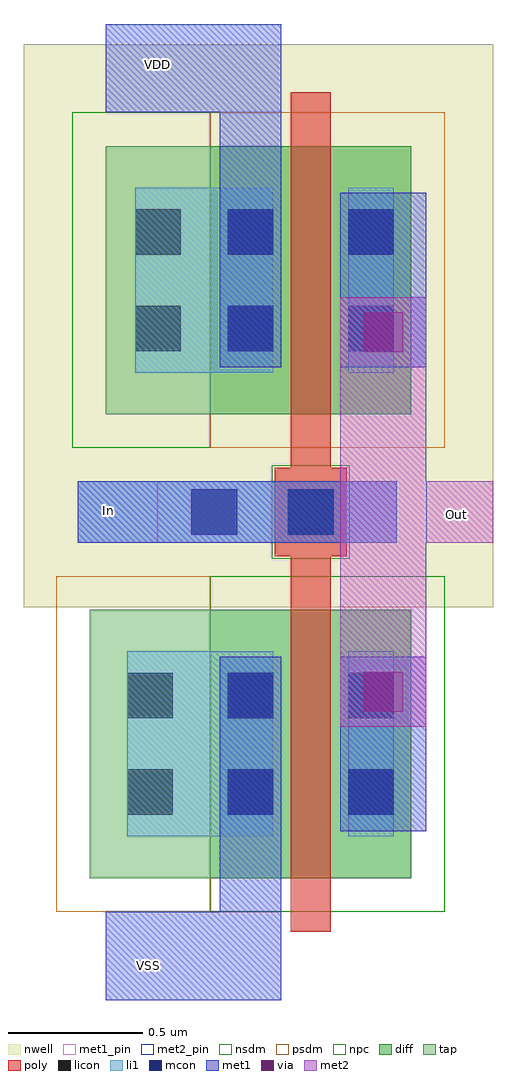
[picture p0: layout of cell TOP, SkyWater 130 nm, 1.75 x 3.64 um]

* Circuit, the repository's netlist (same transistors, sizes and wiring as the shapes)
** sch_path: /foss/designs/xschem_pruebas/TOP.sch
.subckt TOP Out In VDD VSS
*.PININFO Out:B In:B VDD:B VSS:B
XM3 Out In VDD VDD sky130_fd_pr__pfet_01v8 L=0.15 W=1 nf=1 ad='int((nf+1)/2) * W/nf * 0.29' as='int((nf+2)/2) * W/nf * 0.29' pd='2*int((nf+1)/2) * (W/nf + 0.29)'
+ ps='2*int((nf+2)/2) * (W/nf + 0.29)' nrd='0.29 / W' nrs='0.29 / W' sa=0 sb=0 sd=0 mult=1 m=1
XM4 Out In VSS VSS sky130_fd_pr__nfet_01v8 L=0.15 W=1 nf=1 ad='int((nf+1)/2) * W/nf * 0.29' as='int((nf+2)/2) * W/nf * 0.29' pd='2*int((nf+1)/2) * (W/nf + 0.29)'
+ ps='2*int((nf+2)/2) * (W/nf + 0.29)' nrd='0.29 / W' nrs='0.29 / W' sa=0 sb=0 sd=0 mult=1 m=1
.ends
.end

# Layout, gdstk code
from math import pi, radians
import gdstk
lib = gdstk.Library(unit=1e-6, precision=1e-09)
def R(c, l, rs):  # rectangles x0, y0, x1, y1
    for r in rs: c.add(gdstk.rectangle(r[:2], r[2:], *l))
def P(c, l, *ps):  # polygons
    for p in ps: c.add(gdstk.Polygon(p, *l))
nwell = (64, 20)
diff = (65, 20)
tap = (65, 44)
poly = (66, 20)
licon = (66, 44)
li1 = (67, 20)
mcon = (67, 44)
met1_pin = (68, 16)
met1 = (68, 20)
via = (68, 44)
met2_pin = (69, 16)
met2 = (69, 20)
nsdm = (93, 44)
psdm = (94, 20)
npc = (95, 20)

nfet_1 = lib.new_cell('nfet$1')
R(nfet_1, diff, [(0,0,0.75,1)])
R(nfet_1, tap, [(0.75,0,1.2,1)])
R(nfet_1, poly, [(0.3,-0.2,0.45,1.2), (0.24,1.2,0.51,1.53)])
R(nfet_1, licon, [(0.065,0.235,0.235,0.405), (0.515,0.235,0.685,0.405), (0.89,0.235,1.06,0.405), (0.065,0.595,0.235,0.765), (0.515,0.595,0.685,0.765), (0.89,0.595,1.06,0.765), (0.29,1.28,0.46,1.45)])
R(nfet_1, li1, [(0.065,0.155,0.235,0.845), (0.515,0.155,0.685,0.845), (0.89,0.155,1.06,0.845), (0.21,1.28,0.54,1.45)])
R(nfet_1, mcon, [(0.065,0.235,0.235,0.405), (0.515,0.235,0.685,0.405), (0.065,0.595,0.235,0.765), (0.515,0.595,0.685,0.765), (0.29,1.28,0.46,1.45)])
R(nfet_1, met1, [(0.035,0.175,0.265,0.825), (0.485,0.175,0.715,0.825), (0.19,1.25,0.56,1.48)])
R(nfet_1, nsdm, [(-0.125,-0.125,0.75,1.125)])
R(nfet_1, psdm, [(0.75,-0.125,1.325,1.125)])
R(nfet_1, npc, [(0.23,1.19,0.52,1.54)])

pfet_1 = lib.new_cell('pfet$1')
R(pfet_1, nwell, [(-0.305,-0.72,1.445,1.38)])
R(pfet_1, diff, [(0,0,0.75,1)])
R(pfet_1, tap, [(0.75,0,1.14,1)])
R(pfet_1, poly, [(0.24,-0.53,0.51,-0.2), (0.3,-0.2,0.45,1.2)])
R(pfet_1, licon, [(0.29,-0.45,0.46,-0.28), (0.065,0.235,0.235,0.405), (0.515,0.235,0.685,0.405), (0.86,0.235,1.03,0.405), (0.065,0.595,0.235,0.765), (0.515,0.595,0.685,0.765), (0.86,0.595,1.03,0.765)])
R(pfet_1, li1, [(0.21,-0.45,0.54,-0.28), (0.065,0.155,0.235,0.845), (0.515,0.155,0.685,0.845), (0.86,0.155,1.03,0.845)])
R(pfet_1, mcon, [(0.29,-0.45,0.46,-0.28), (0.065,0.235,0.235,0.405), (0.515,0.235,0.685,0.405), (0.065,0.595,0.235,0.765), (0.515,0.595,0.685,0.765)])
R(pfet_1, met1, [(0.19,-0.48,0.56,-0.25), (0.035,0.175,0.265,0.825), (0.485,0.175,0.715,0.825)])
R(pfet_1, nsdm, [(0.75,-0.125,1.265,1.125)])
R(pfet_1, psdm, [(-0.125,-0.125,0.75,1.125)])
R(pfet_1, npc, [(0.23,-0.54,0.52,-0.19)])

vias_gen = lib.new_cell('vias_gen')
R(vias_gen, met1, [(0,0,0.32,0.26)])
R(vias_gen, via, [(0.085,0.055,0.235,0.205)])
R(vias_gen, met2, [(0,0,0.32,0.26)])

vias_gen_3 = lib.new_cell('vias_gen$3')
R(vias_gen_3, li1, [(0,0,1,0.23)])
R(vias_gen_3, mcon, [(0.235,0.03,0.405,0.2), (0.595,0.03,0.765,0.2)])
R(vias_gen_3, met1, [(0,0,1,0.23)])

top = lib.new_cell('TOP')
P(top, licon, [(1.13,1.54),(1.13,1.54),(1.13,1.54),(1.13,1.54)])
R(top, li1, [(0.26,0.215,0.805,0.905), (0.075,1.31,1.13,1.54), (0.29,1.945,0.805,2.635)])
R(top, met1_pin, [(0.18,-0.395,0.835,-0.065), (0.075,1.31,0.375,1.54), (0.18,2.915,0.835,3.245)])
R(top, met1, [(0.18,-0.395,0.835,-0.065), (0.605,-0.395,0.835,0.885), (1.055,0.235,1.375,0.885), (0.075,1.31,1.13,1.54), (0.605,1.965,0.835,3.245), (1.055,1.965,1.375,2.615), (0.18,2.915,0.835,3.245)])
R(top, met2_pin, [(1.375,1.31,1.625,1.54)])
R(top, met2, [(1.055,0.625,1.375,2.225), (1.055,1.31,1.625,1.54)])
top.add(gdstk.Reference(nfet_1, (1.32,0.06), rotation=pi, x_reflection=True))
top.add(gdstk.Reference(pfet_1, (1.32,1.79), rotation=pi, x_reflection=True))
top.add(gdstk.Reference(vias_gen, (1.055,0.625)))
top.add(gdstk.Reference(vias_gen, (1.055,1.965)))
top.add(gdstk.Reference(vias_gen_3, (0.265,1.31)))
top.add(gdstk.Label('In', (0.19,1.43), layer=68, texttype=5))
top.add(gdstk.Label('VDD', (0.375,3.095), layer=68, texttype=5))
top.add(gdstk.Label('VSS', (0.34,-0.265), layer=68, texttype=5))
top.add(gdstk.Label('Out', (1.49,1.415), layer=69, texttype=5))

lib.write_gds('TOP.gds')
